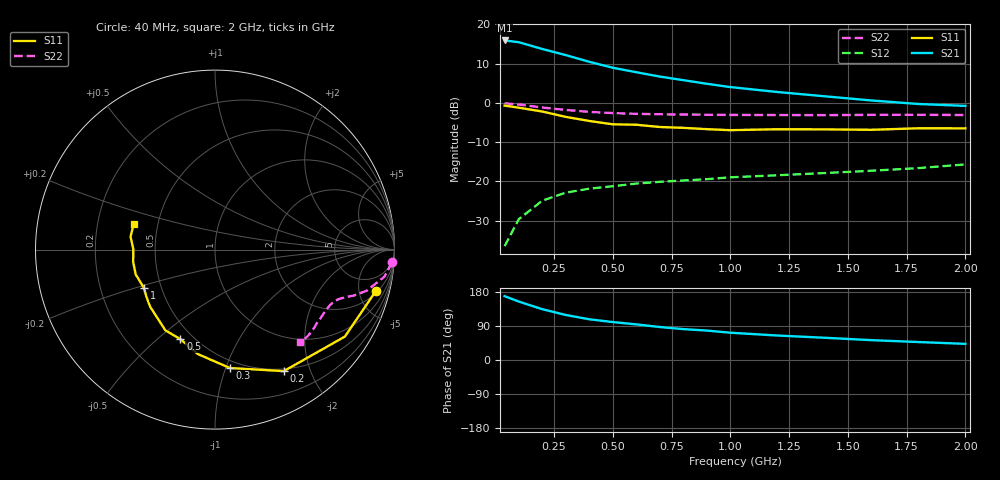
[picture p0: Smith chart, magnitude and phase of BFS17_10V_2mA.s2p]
! Filename:  BFS17F.S2P  Version:  2.0
! Philips part #: BFS17  Date: Jun 1990
! Bias condition: Vce=10V, Ic=2mA
#  MHz  S  MA  R  50
! Freq  S11  S21  S12  S22  !GUM [dB]
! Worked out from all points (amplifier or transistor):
!   16 points, 40 MHz to 2 GHz, reference 50 ohm
!   highest |S21| = 15.9 dB at 40 MHz (marker M1)
!   |S21| within 3 dB of that: start of sweep to 253.1 MHz
!   unconditionally stable (mu >= 1): 952.3 MHz to end of sweep
!   at 200 MHz: K = 0.31, MSG = 19.3 dB, |S12| = -24.9 dB
!   at 800 MHz: K = 0.90, MSG = 12.8 dB, |S12| = -19.7 dB
!   at 2 GHz: K = 1.04, MAG = 6.2 dB, |S12| = -15.7 dB
!   S11 on the Smith chart (normalised r, x): 40 MHz: 2.24, -7.18; 200 MHz: 0.47, -1.61; 300 MHz: 0.44, -1.03; 500 MHz: 0.43, -0.60; 1 GHz: 0.40, -0.21; 2 GHz: 0.36, +0.13
40  0.925 -14.5  6.252 168.5  0.015 79.0  0.989 -4.1
100  0.871 -33.8  5.939 154.3  0.033 71.7  0.956 -9.1
200  0.778 -60.5  4.869 134.1  0.057 59.6  0.875 -15.2
300  0.665 -82.8  4.069 118.8  0.072 53.4  0.815 -18.3
400  0.59 -99.3  3.342 107.5  0.081 49.4  0.77 -20.2
500  0.535 -111.1  2.81 100.1  0.087 48.4  0.743 -21.8
600  0.528 -121.6  2.463 94.0  0.094 48.1  0.727 -23.1
700  0.494 -131.7  2.168 87.0  0.099 48.1  0.718 -24.6
800  0.482 -138.4  1.952 81.5  0.103 49.3  0.712 -25.6
900  0.464 -145.4  1.756 77.7  0.107 50.5  0.708 -27.0
1000  0.45 -151.6  1.594 72.0  0.113 51.8  0.704 -28.4
1200  0.463 -162.7  1.379 64.6  0.12 54.6  0.702 -31.7
1400  0.461 -171.5  1.217 58.7  0.128 57.9  0.7 -35.5
1600  0.455 179.7  1.076 52.4  0.137 62.1  0.705 -39.2
1800  0.476 171.3  0.97 47.4  0.148 66.7  0.707 -43.2
2000  0.475 162.4  0.918 42.6  0.165 70.5  0.702 -47.3
